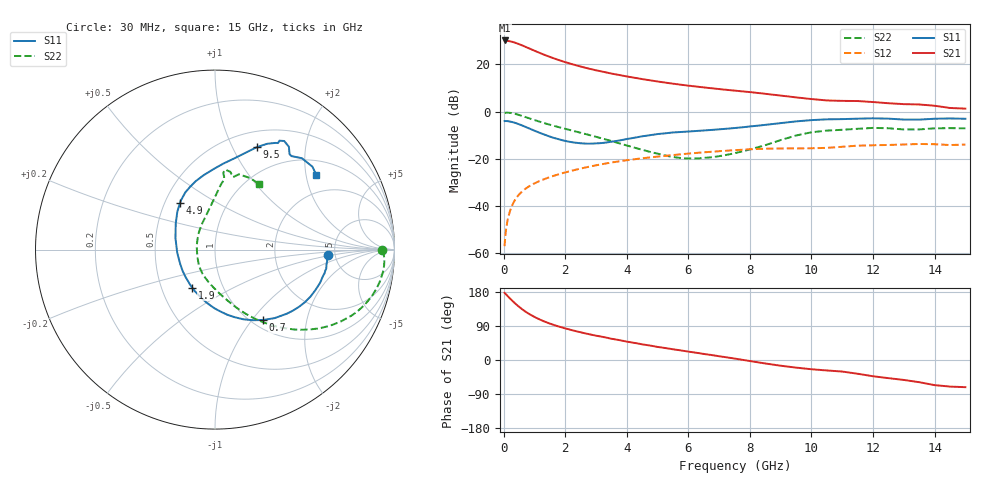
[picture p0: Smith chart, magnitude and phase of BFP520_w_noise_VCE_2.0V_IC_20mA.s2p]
! Infineon Technologies  Discrete & RF Semiconductors
! BFP520
! VCE =  2.0 V,  IC =  20 mA
! Common Emitter S-Parameters:  Oct 2015
# GHz  S  MA  R  50
!  f  S11  S21  S12  S22
! GHz  MAG  ANG  MAG  ANG  MAG  ANG  MAG  ANG
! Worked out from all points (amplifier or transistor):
!   109 points, 30 MHz to 15 GHz, reference 50 ohm
!   highest |S21| = 30.1 dB at 30 MHz (marker M1)
!   |S21| within 3 dB of that: start of sweep to 760.8 MHz
!   unconditionally stable (mu >= 1): 2.835 GHz to end of sweep
!   at 450 MHz: K = 0.34, MSG = 32.4 dB, |S12| = -36.0 dB
!   at 4 GHz: K = 1.09, MAG = 15.9 dB, |S12| = -20.6 dB
!   at 15 GHz: K = 1.26, MAG = 4.6 dB, |S12| = -14.0 dB
!   lowest NFmin = 2.00 dB at 900 MHz
!   S11 on the Smith chart (normalised r, x): 30 MHz: 4.34, -0.41; 700 MHz: 1.12, -1.14; 1.9 GHz: 0.71, -0.32; 4.9 GHz: 0.60, +0.35; 9.5 GHz: 0.68, +1.25; 15 GHz: 1.41, +2.30
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0.03  0.6286 -2.6  32.04 177.0  0.0014 97.0  0.9314 -0.3
0.14  0.6238 -12.5  31.35 167.7  0.0055 84.2  0.9447 -7.1
0.2  0.6136 -17.7  30.82 162.7  0.0076 81.8  0.9369 -10.6
0.35  0.5802 -30.4  29 150.9  0.0128 77.3  0.8977 -18.8
0.5  0.5362 -41.8  26.71 140.4  0.0174 73.3  0.844 -25.9
0.6  0.5059 -49.0  25.17 133.9  0.0202 71.2  0.805 -30.0
0.7  0.4749 -55.7  23.61 128.1  0.0229 69.4  0.7662 -33.7
0.9  0.4181 -68.1  20.73 118.1  0.0277 66.5  0.6933 -39.9
1.1  0.369 -79.4  18.22 109.6  0.0322 64.3  0.6287 -45.1
1.2  0.3471 -84.7  17.13 105.9  0.0344 63.5  0.5999 -47.3
1.5  0.2942 -100.6  14.37 96.1  0.0407 61.3  0.5251 -53.2
1.9  0.2467 -121.1  11.67 85.8  0.0491 58.6  0.4462 -59.8
2.2  0.2245 -136.6  10.16 79.0  0.0554 56.6  0.3976 -64.3
2.6  0.2101 -156.8  8.63 71.2  0.0639 53.7  0.341 -70.1
3.5  0.2294 163.8  6.376 56.1  0.0829 46.1  0.2366 -86.1
4.9  0.3253 126.7  4.429 36.0  0.1089 33.4  0.1322 -129.9
5.1  0.3377 123.3  4.235 33.4  0.1124 31.7  0.1233 -137.3
7.6  0.4528 90.1  2.732 2.5  0.1529 8.6  0.1352 130.1
9.5  0.6177 67.7  1.992 -20.1  0.1652 -9.8  0.3102 88.5
10.5  0.6823 60.6  1.716 -27.6  0.1696 -14.9  0.3937 82.6
13  0.6745 52.0  1.433 -52.6  0.1999 -36.2  0.4165 76.0
15  0.7013 36.3  1.151 -71.7  0.1994 -52.5  0.44 55.9
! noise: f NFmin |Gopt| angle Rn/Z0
0.45  2.01  0.16  1  0.27
0.9  2  0.12  1  0.3
1.9  2.2  0.1  -2  0.28
2.4  2.2  0.08  -6  0.28
3.5  2.15  0.04  -30  0.29
